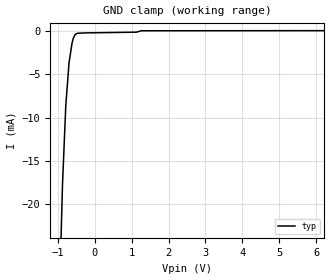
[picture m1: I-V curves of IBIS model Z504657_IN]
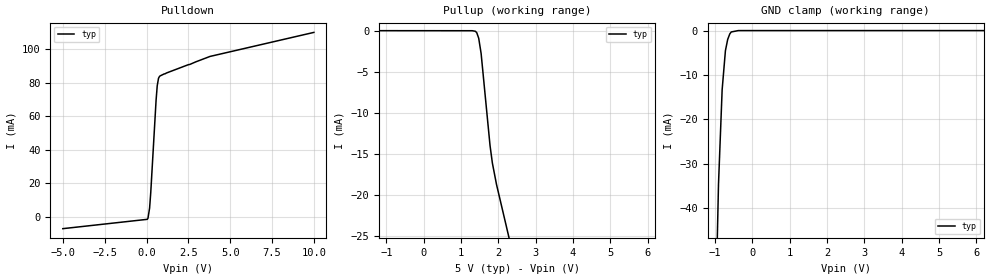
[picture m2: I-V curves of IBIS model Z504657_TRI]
| YOU ARE ONLY AUTHORIZED TO USE THIS SOFTWARE
| ACCORDING TO LICENSOR'S LICENSE RESTRICTIONS.
[IBIS Ver] 3.1
[File Name] sn74ls353d.ibs
[File Rev] 2.0
[Source] Measured and created by ICX Technology
[Date] Friday 7/14/00 9:08:19 AM
[Copyright]
| (C) COPYRIGHT 1993-2000
| MENTOR GRAPHICS CORPORATION
| ICX STANDARD LIBRARY, ICX PROJECT MODELING,
| ICX CUSTOM MODELING, ICX VENDOR MODEL
| ALL RIGHTS RESERVED.
| THE FOLLOWING ARE TRADEMARKS OR SERVICE MARKS OF
| MENTOR GRAPHICS CORPORATION:ICX (R), ICX STANDARD
| LIBRARY(R), ICX PROJECT MODELING(R), ICX CUSTOM
| MODELING(R), qualityIBIS(TM), MODELVIEWER(TM),
| AND MODELEDITOR(TM)
| ALL COPIES OF SOFTWARE, INCLUDING BUT NOT LIMITED TO
| ANY MODIFICATIONS, ENHANCEMENTS OR DERIVATIVE WORKS,
| MUST CONTAIN ALL MENTOR GRAPHICS CORPORATION'S
| NOTICES AND LEGENDS, INCLUDING THOSE EMBEDDED IN
| SOFTWARE AND THOSE AFFIXED TO SOFTWARE MEDIUM
| AND CONTAINER, AS RECEIVED FROM MENTOR GRAPHICS
| CORPORATION.
|  ZAP Model Builder 2.7
[Component] SN74LS353D
[Manufacturer] OnSemiconductor
[Package]
| variable   typ   min   max
R_pkg  .156ohms NA NA
L_pkg  3.148nH NA NA
C_pkg  .388pF NA NA
[Pin] signal_name  model_name  R_pin  L_pin C_pin
1 _G1 Z504657_IN .162 3.798n .418p
2 B Z504657_IN .158 3.358n .398p
3 C3A Z504657_IN .154 2.928n .378p
4 C2A Z504657_IN .15 2.508n .358p
5 C1A Z504657_IN .15 2.508n .358p
6 C0A Z504657_IN .154 2.928n .378p
7 _Y1 Z504657_TRI .158 3.358n .398p
8 GND GND .162 3.798n .418p
9 _Y2 Z504657_TRI .162 3.798n .418p
10 C0B Z504657_IN .158 3.358n .398p
11 C1B Z504657_IN .154 2.928n .378p
12 C2B Z504657_IN .15 2.508n .358p
13 C3B Z504657_IN .15 2.508n .358p
14 A Z504657_IN .154 2.928n .378p
15 _G2 Z504657_IN .158 3.358n .398p
16 VCC POWER .162 3.798n .418p
| Models and submodels in the file (2): Z504657_IN (Input), Z504657_TRI (3-state)
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| (C) COPYRIGHT 1993-2000
| MENTOR GRAPHICS CORPORATION
| ICX STANDARD LIBRARY, ICX PROJECT MODELING,
| ICX CUSTOM MODELING, ICX VENDOR MODEL
| ALL RIGHTS RESERVED.
| THE FOLLOWING ARE TRADEMARKS OR SERVICE MARKS OF
| MENTOR GRAPHICS CORPORATION:ICX (R), ICX STANDARD
| LIBRARY(R), ICX PROJECT MODELING(R), ICX CUSTOM
| MODELING(R), qualityIBIS(TM), MODELVIEWER(TM),
| AND MODELEDITOR(TM)
| ALL COPIES OF SOFTWARE, INCLUDING BUT NOT LIMITED TO
| ANY MODIFICATIONS, ENHANCEMENTS OR DERIVATIVE WORKS,
| MUST CONTAIN ALL MENTOR GRAPHICS CORPORATION'S
| NOTICES AND LEGENDS, INCLUDING THOSE EMBEDDED IN
| SOFTWARE AND THOSE AFFIXED TO SOFTWARE MEDIUM
| AND CONTAINER, AS RECEIVED FROM MENTOR GRAPHICS
| CORPORATION.
| Model Application Version 1.89 2/18/99.
[Model] Z504657_IN
Model_type Input
Vinl = 800.0mV
Vinh = 2.000V
C_comp 4.000pF NA NA
| variable typ   min   max
[Voltage Range] 5.000V NA NA
[GND Clamp Reference] 0.000V NA NA
[POWER Clamp Reference] 5.000V NA NA
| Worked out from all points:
|   GND clamp passes 1 mA (typ) near -0.59 V on its own axis
[GND Clamp]
-5V       -659.4mA   NA         NA
-868.9mV  -17.69mA   NA         NA
-780.2mV  -8.624mA   NA         NA
-693.2mV  -3.718mA   NA         NA
-613.1mV  -1.47mA    NA         NA
-581.1mV  -915.1uA   NA         NA
-527.3mV  -435.9uA   NA         NA
-463.9mV  -294.9uA   NA         NA
-231.9mV  -251.6uA   NA         NA
1.127V    -170.8uA   NA         NA
1.265V    -7.123uA   NA         NA
10V       14.09uA    NA         NA
[POWER Clamp]
-5V       0A         NA         NA
10V       0A         NA         NA
| (C) COPYRIGHT 1993-2000
| MENTOR GRAPHICS CORPORATION
| ICX STANDARD LIBRARY, ICX PROJECT MODELING,
| ICX CUSTOM MODELING, ICX VENDOR MODEL
| ALL RIGHTS RESERVED.
| THE FOLLOWING ARE TRADEMARKS OR SERVICE MARKS OF
| MENTOR GRAPHICS CORPORATION:ICX (R), ICX STANDARD
| LIBRARY(R), ICX PROJECT MODELING(R), ICX CUSTOM
| MODELING(R), qualityIBIS(TM), MODELVIEWER(TM),
| AND MODELEDITOR(TM)
| ALL COPIES OF SOFTWARE, INCLUDING BUT NOT LIMITED TO
| ANY MODIFICATIONS, ENHANCEMENTS OR DERIVATIVE WORKS,
| MUST CONTAIN ALL MENTOR GRAPHICS CORPORATION'S
| NOTICES AND LEGENDS, INCLUDING THOSE EMBEDDED IN
| SOFTWARE AND THOSE AFFIXED TO SOFTWARE MEDIUM
| AND CONTAINER, AS RECEIVED FROM MENTOR GRAPHICS
| CORPORATION.
| Model Application Version 1.89 2/18/99.
[Model] Z504657_TRI
Model_type 3-state
Vref=588.0mV
Rref=588.5ohms
Cref=45.00pF
Vmeas=1.300V
C_comp 8.000pF NA NA
| variable typ   min   max
[Voltage Range] 5.000V NA NA
[POWER Clamp Reference] 5.000V NA NA
[Pullup Reference] 5.000V NA NA
[Pulldown Reference] 0.000V NA NA
[GND Clamp Reference] 0.000V NA NA
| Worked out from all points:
|   slope of the pulldown table from 0 to 0.75 V, typ, clamps not added: 8.83 ohm
|   GND clamp passes 1 mA (typ) near -0.62 V on its own axis
[GND Clamp]
-5V       -2.611A    NA         NA
-1.108V   -126mA     NA         NA
-1.006V   -71.94mA   NA         NA
-908.2mV  -34.66mA   NA         NA
-810.5mV  -13.35mA   NA         NA
-722.7mV  -4.538mA   NA         NA
-662mV    -1.997mA   NA         NA
-605.5mV  -750.4uA   NA         NA
-566.4mV  -312.6uA   NA         NA
-377.6mV  0A         NA         NA
10V       0A         NA         NA
[Pulldown]
-5V       -7.045mA   NA         NA
29.49mV   -1.488mA   NA         NA
87.93mV   -843.7uA   NA         NA
185.1mV   5.282mA    NA         NA
253.7mV   14.57mA    NA         NA
571.3mV   69.55mA    NA         NA
640mV     78.3mA     NA         NA
717.8mV   82.79mA    NA         NA
815.3mV   84.22mA    NA         NA
3.794V    95.84mA    NA         NA
10V       110.2mA    NA         NA
[Pullup]
-5V       19.36uA    NA         NA
1.301V    943.8nA    NA         NA
1.383V    -64.22uA   NA         NA
1.421V    -234.5uA   NA         NA
1.474V    -924.5uA   NA         NA
1.538V    -2.765mA   NA         NA
1.777V    -13.97mA   NA         NA
1.84V     -16.11mA   NA         NA
1.95V     -18.7mA    NA         NA
10V       -174.3mA   NA         NA
[POWER Clamp]
-5V       0A         NA         NA
10V       0A         NA         NA
[Ramp]
| variable typ min max
dV/dt_r 1.967/10.64n NA NA
dV/dt_f 1.967/3.272n NA NA
R_load = 500.0Ohms
